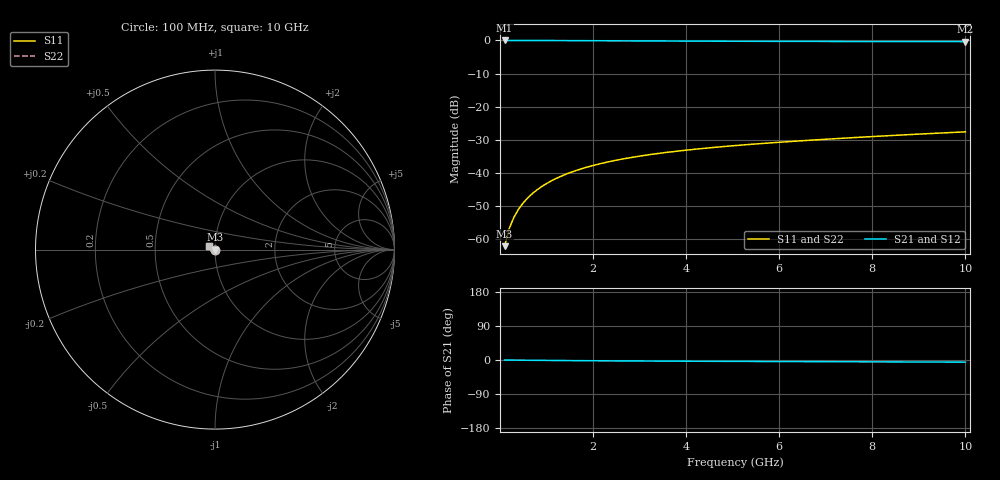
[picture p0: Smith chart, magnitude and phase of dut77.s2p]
! Touchstone file exported from HFSS 2024.1.0
!  File:  C:/UserFiles/LocalFiles/RDL_TSV_Batchsim/temp_TSV1_77_1779374631.aedt
!  Generated:  10:49:49 PM May 21, 2026
!  Design:  TSV1
!  Project:  temp_TSV1_77_1779374631
!  Setup:  Setup1
!  Solution:  Sweep
! Variables:
!  dtsv = 6.41um
!  hbump = 3um
!  htsv = 84.01um
!  lrdl = 252.1521522um
!  p = 40
!  p1 = 52.18um
!  t = 500um
!  trdl = 3um
!  wrdl = 24.89489489um
# GHz S MA R 50.000000
! Terminal data exported
! Port[1] = TSV22_T1
! Port[2] = TSV22_T2
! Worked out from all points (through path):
!   100 points, 100 MHz to 10 GHz, reference 50 ohm
!   highest |S21| = 0.00 dB at 100 MHz (marker M1); lowest = -0.4 dB at 10 GHz (marker M2)
!   lowest |S11| = -62.2 dB at 100 MHz (marker M3), VSWR 1.00, Z = 50 - j0.0706 ohm
!   |S11| at or under -10 dB: start of sweep to end of sweep
!   |S22| runs from -62.2 to -27.6 dB; largest |S21 - S12| = 3.1e-15
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0.1  0.0007793 -64.9  0.9996 -0.1  0.9996 -0.1  0.0007793 -64.9
! Gamma 0 0 0 0
! Port Impedance 50 0 50 0
0.2  0.001446 -80.0  0.9995 -0.2  0.9995 -0.2  0.001446 -80.0
0.3  0.002134 -86.9  0.9994 -0.3  0.9994 -0.3  0.002134 -86.9
0.4  0.002825 -91.6  0.9992 -0.4  0.9992 -0.4  0.002825 -91.6
0.5  0.003515 -95.2  0.9989 -0.6  0.9989 -0.6  0.003515 -95.2
0.6  0.004201 -98.4  0.9986 -0.7  0.9986 -0.7  0.004201 -98.4
0.7  0.004881 -101.3  0.9983 -0.8  0.9983 -0.8  0.004881 -101.3
0.8  0.005555 -103.9  0.9979 -0.9  0.9979 -0.9  0.005555 -103.9
0.9  0.006221 -106.5  0.9975 -1.0  0.9975 -1.0  0.006221 -106.5
1.1  0.007528 -111.3  0.9965 -1.2  0.9965 -1.2  0.007528 -111.3
1.4  0.009418 -118.1  0.9948 -1.5  0.9948 -1.5  0.009418 -118.1
1.6  0.01062 -122.4  0.9935 -1.6  0.9935 -1.6  0.01062 -122.4
1.8  0.01179 -126.5  0.9921 -1.8  0.9921 -1.8  0.01179 -126.5
2.1  0.01345 -132.3  0.99 -2.0  0.99 -2.0  0.01345 -132.3
2.5  0.01551 -139.7  0.9872 -2.3  0.9872 -2.3  0.01551 -139.7
2.9  0.01741 -146.5  0.9844 -2.6  0.9844 -2.6  0.01741 -146.5
3.4  0.0196 -154.3  0.9811 -2.9  0.9811 -2.9  0.0196 -154.3
4.2  0.02275 -165.4  0.9765 -3.3  0.9765 -3.3  0.02275 -165.4
5.1  0.02595 -176.0  0.9722 -3.7  0.9722 -3.7  0.02595 -176.0
6.7  0.03119 168.6  0.9666 -4.3  0.9666 -4.3  0.03119 168.6
8.4  0.03655 156.1  0.9627 -5.0  0.9627 -5.0  0.03655 156.1
10  0.04158 146.8  0.96 -5.6  0.96 -5.6  0.04158 146.8
